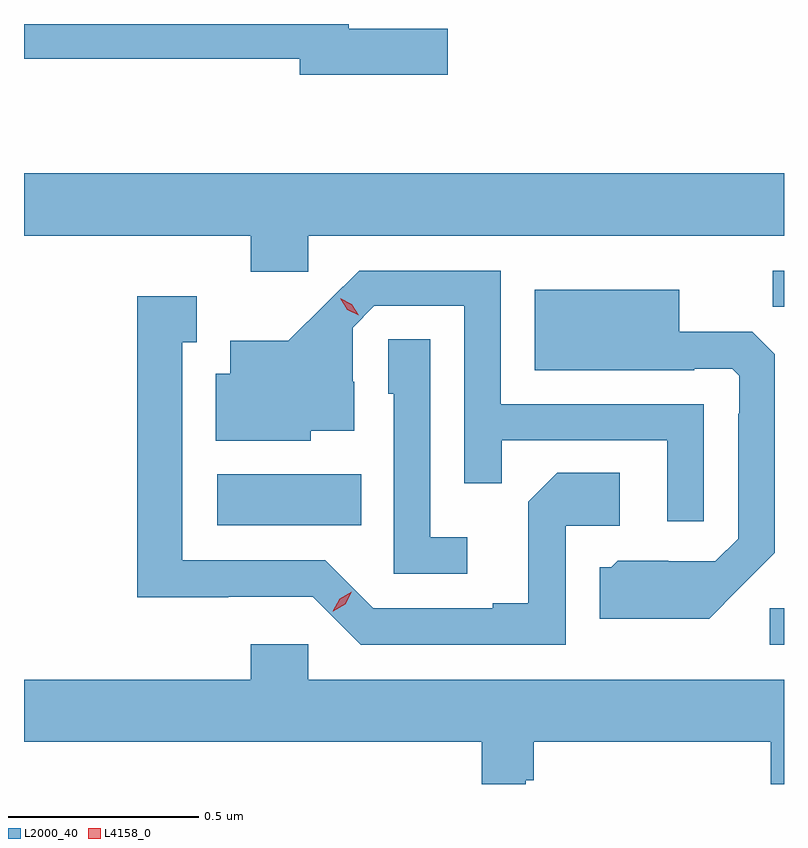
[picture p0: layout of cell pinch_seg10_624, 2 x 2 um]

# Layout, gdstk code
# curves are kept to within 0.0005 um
import gdstk
lib = gdstk.Library(unit=1e-6, precision=1e-09)
def R(c, l, rs):  # rectangles x0, y0, x1, y1
    for r in rs: c.add(gdstk.rectangle(r[:2], r[2:], *l))
def P(c, l, *ps):  # polygons
    for p in ps: c.add(gdstk.Polygon(p, *l))
L2000_40 = (2000, 40)
L4158_0 = (4158, 0)

pinch_seg10_624 = lib.new_cell('pinch_seg10_624')
R(pinch_seg10_624, L2000_40, [(367.047,1275.264,367.084,1275.36), (365.592,1275.578,365.972,1275.712), (367.054,1276.153,367.084,1276.248)])
P(pinch_seg10_624, L2000_40, [(366.199,1276.885),(365.938,1276.885),(365.938,1276.897),(365.084,1276.897),(365.084,1276.806),(365.81,1276.806),(365.81,1276.763),(366.199,1276.763)],
  [(365.832,1276.34),(367.084,1276.34),(367.084,1276.504),(365.084,1276.504),(365.084,1276.34),(365.681,1276.34),(365.681,1276.245),(365.832,1276.245)],
  [(366.873,1275.897),(366.339,1275.897),(366.339,1276.248),(365.966,1276.248),(365.779,1276.063),(365.627,1276.063),(365.627,1275.976),(365.588,1275.976),(365.588,1275.8),(365.838,1275.8),(365.838,1275.827),(365.953,1275.827),(365.953,1275.956),(365.949,1275.956),(365.949,1276.098),(366.006,1276.155),(366.243,1276.155),(366.243,1275.688),(366.341,1275.688),(366.341,1275.801),(366.777,1275.801),(366.777,1275.588),(366.873,1275.588)],
  [(366.967,1275.413),(367.059,1275.506),(367.059,1276.028),(367,1276.087),(366.808,1276.087),(366.808,1276.198),(366.428,1276.198),(366.428,1275.986),(366.848,1275.986),(366.848,1275.99),(366.948,1275.99),(366.966,1275.972),(366.966,1275.872),(366.963,1275.872),(366.963,1275.543),(366.903,1275.483),(366.78,1275.483),(366.78,1275.484),(366.646,1275.484),(366.63,1275.468),(366.599,1275.468),(366.599,1275.332),(366.887,1275.332)],
  [(366.51,1275.576),(366.652,1275.576),(366.652,1275.716),(366.487,1275.716),(366.411,1275.64),(366.411,1275.373),(366.317,1275.373),(366.317,1275.36),(366.003,1275.36),(365.877,1275.486),(365.5,1275.486),(365.5,1276.059),(365.539,1276.059),(365.539,1276.18),(365.382,1276.18),(365.382,1275.389),(365.622,1275.389),(365.622,1275.39),(365.844,1275.39),(365.97,1275.264),(366.51,1275.264)],
  [(366.25,1275.547),(366.153,1275.547),(366.153,1276.067),(366.042,1276.067),(366.042,1275.924),(366.057,1275.924),(366.057,1275.45),(366.25,1275.45)],
  [(366.405,1274.907),(366.425,1274.907),(366.425,1275.008),(367.049,1275.008),(367.049,1274.897),(367.084,1274.897),(367.084,1275.172),(365.832,1275.172),(365.832,1275.265),(365.681,1275.265),(365.681,1275.172),(365.084,1275.172),(365.084,1275.008),(366.289,1275.008),(366.289,1274.897),(366.405,1274.897)])
P(pinch_seg10_624, L4158_0, [(365.965,1276.13),(365.934,1276.145),(365.916,1276.175),(365.916,1276.175),(365.916,1276.175),(365.947,1276.16),(365.965,1276.131),(365.965,1276.13)],
  [(365.897,1275.351),(365.897,1275.351),(365.915,1275.384),(365.947,1275.403),(365.947,1275.403),(365.947,1275.403),(365.929,1275.37),(365.898,1275.351)])

lib.write_gds('pinch_seg10_624.gds')
